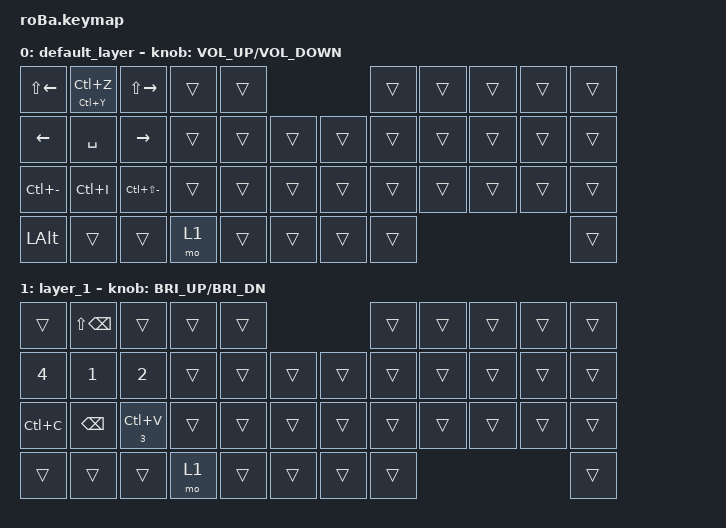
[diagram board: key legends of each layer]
#include <dt-bindings/zmk/mouse.h>
#include <behaviors.dtsi>
#include <dt-bindings/zmk/keys.h>

#define MOUSE 4
#define SCROLL 5
#define NUM 6

&mt {
    flavor = "balanced";
    quick-tap-ms = <0>;
};

/ {
    combos { compatible = "zmk,combos"; };

    macros {
        to_layer_0: to_layer_0 {
            compatible = "zmk,behavior-macro-one-param";
            #binding-cells = <1>;
            bindings = <&to 0 &macro_param_1to1 &kp MACRO_PLACEHOLDER>;
            label = "TO_LAYER_0";
        };
    };

    behaviors {
        lt_to_layer_0: lt_to_layer_0 {
            compatible = "zmk,behavior-hold-tap";
            label = "LAYER_TAP_TO_0";
            bindings = <&mo>, <&to_layer_0>;

            #binding-cells = <2>;
            tapping-term-ms = <200>;
        };
    };

    keymap {
        compatible = "zmk,keymap";

        default_layer {
            bindings = <
&kp LS(LEFT_ARROW)  &mt LC(Y) LC(Z)  &kp LS(RIGHT_ARROW)  &trans  &trans                    &trans  &trans  &trans  &trans  &trans
&kp LEFT_ARROW      &kp SPACE        &kp RIGHT_ARROW      &trans  &trans  &trans    &trans  &trans  &trans  &trans  &trans  &trans
&kp LC(MINUS)       &kp LC(I)        &kp LC(LS(MINUS))    &trans  &trans  &trans    &trans  &trans  &trans  &trans  &trans  &trans
&kp LEFT_ALT        &trans           &trans               &mo 1   &trans  &trans    &trans  &trans                          &trans
            >;

            sensor-bindings = <&inc_dec_kp C_VOLUME_UP C_VOLUME_DOWN>;
        };

        layer_1 {
            bindings = <
&trans        &kp LS(BACKSPACE)  &trans              &trans  &trans                    &trans  &trans  &trans  &trans  &trans
&kp NUMBER_4  &kp NUMBER_1       &kp NUMBER_2        &trans  &trans  &trans    &trans  &trans  &trans  &trans  &trans  &trans
&kp LC(C)     &kp BACKSPACE      &mt NUMBER_3 LC(V)  &trans  &trans  &trans    &trans  &trans  &trans  &trans  &trans  &trans
&trans        &trans             &trans              &mo 1   &trans  &trans    &trans  &trans                          &trans
            >;

            sensor-bindings = <&inc_dec_kp C_BRI_UP C_BRI_DN>;
        };
    };
};
